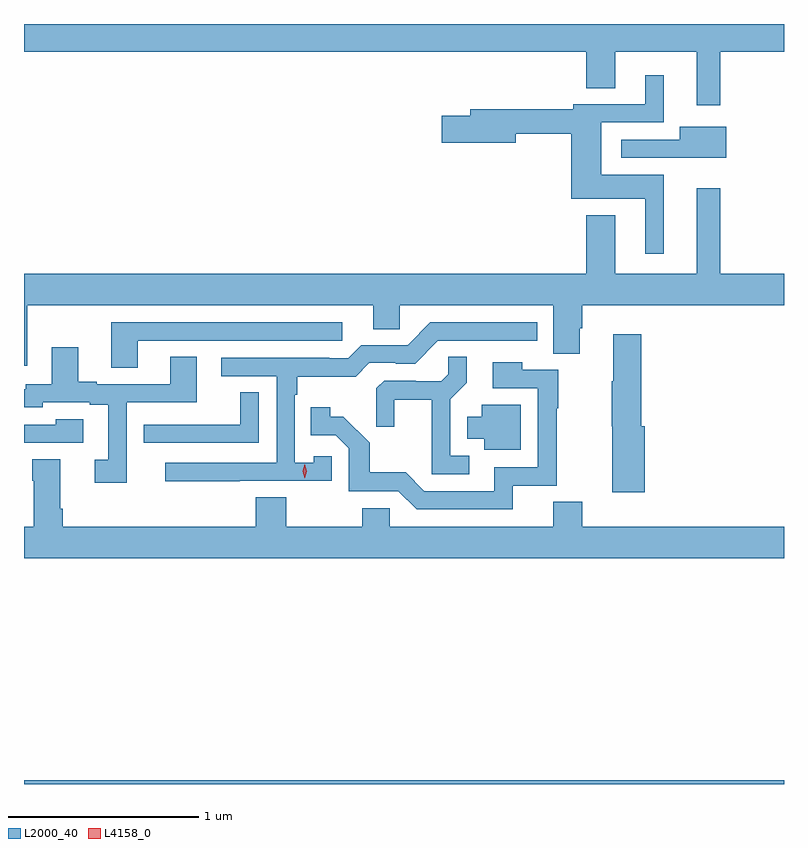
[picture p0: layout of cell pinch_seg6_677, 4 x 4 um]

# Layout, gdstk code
import gdstk
lib = gdstk.Library(unit=1e-6, precision=1e-09)
def R(c, l, rs):  # rectangles x0, y0, x1, y1
    for r in rs: c.add(gdstk.rectangle(r[:2], r[2:], *l))
def P(c, l, *ps):  # polygons
    for p in ps: c.add(gdstk.Polygon(p, *l))
L2000_40 = (2000, 40)
L4158_0 = (4158, 0)

pinch_seg6_677 = lib.new_cell('pinch_seg6_677')
R(pinch_seg6_677, L2000_40, [(446.631,932.827,450.631,932.848)])
P(pinch_seg6_677, L2000_40, [(450.295,936.68),(450.631,936.68),(450.631,936.827),(446.631,936.827),(446.631,936.68),(449.591,936.68),(449.591,936.49),(449.743,936.49),(449.743,936.68),(450.173,936.68),(450.173,936.399),(450.295,936.399)],
  [(449.998,936.034),(449.668,936.034),(449.668,936.309),(449.998,936.309),(449.998,936.556),(449.9,936.556),(449.9,936.405),(449.522,936.405),(449.522,936.379),(448.979,936.379),(448.979,936.345),(448.83,936.345),(448.83,936.203),(449.218,936.203),(449.218,936.25),(449.51,936.25),(449.51,935.906),(449.9,935.906),(449.9,935.619),(449.998,935.619)],
  [(450.328,936.286),(450.083,936.286),(450.083,936.219),(449.775,936.219),(449.775,936.123),(450.087,936.123),(450.087,936.122),(450.328,936.122)],
  [(446.647,935.348),(448.469,935.348),(448.469,935.221),(448.608,935.221),(448.608,935.348),(449.417,935.348),(449.417,935.092),(449.557,935.092),(449.557,935.226),(449.57,935.226),(449.57,935.348),(450.631,935.348),(450.631,935.512),(450.295,935.512),(450.295,935.962),(450.173,935.962),(450.173,935.512),(449.743,935.512),(449.743,935.821),(449.591,935.821),(449.591,935.512),(446.631,935.512),(446.631,935.028),(446.647,935.028)],
  [(447.229,935.16),(448.306,935.16),(448.306,935.256),(447.089,935.256),(447.089,935.017),(447.229,935.017)],
  [(447.767,934.422),(448.251,934.422),(448.251,934.551),(448.155,934.551),(448.155,934.519),(448.056,934.519),(448.056,934.877),(448.069,934.877),(448.069,934.97),(448.376,934.97),(448.449,935.043),(448.588,935.043),(448.588,935.04),(448.689,935.04),(448.809,935.16),(449.332,935.16),(449.332,935.256),(448.77,935.256),(448.65,935.136),(448.407,935.136),(448.338,935.067),(448.238,935.067),(448.238,935.07),(447.669,935.07),(447.669,934.974),(447.96,934.974),(447.96,934.518),(447.375,934.518),(447.375,934.42),(447.767,934.42)],
  [(449.897,934.71),(449.879,934.71),(449.879,935.194),(449.732,935.194),(449.732,934.946),(449.725,934.946),(449.725,934.71),(449.726,934.71),(449.726,934.362),(449.897,934.362)],
  [(447.171,934.836),(447.541,934.836),(447.541,935.075),(447.401,935.075),(447.401,934.932),(447.013,934.932),(447.013,934.945),(446.917,934.945),(446.917,935.125),(446.777,935.125),(446.777,934.932),(446.64,934.932),(446.64,934.905),(446.631,934.905),(446.631,934.809),(446.73,934.809),(446.73,934.836),(446.978,934.836),(446.978,934.824),(447.074,934.824),(447.074,934.533),(447.003,934.533),(447.003,934.413),(447.171,934.413)],
  [(448.975,934.554),(448.875,934.554),(448.875,934.853),(448.961,934.939),(448.961,935.075),(448.863,935.075),(448.863,934.984),(448.826,934.947),(448.692,934.947),(448.692,934.95),(448.527,934.95),(448.486,934.909),(448.486,934.707),(448.58,934.707),(448.58,934.85),(448.778,934.85),(448.778,934.458),(448.975,934.458)],
  [(449.204,934.398),(449.435,934.398),(449.435,934.804),(449.443,934.804),(449.443,935.007),(449.253,935.007),(449.253,935.047),(449.097,935.047),(449.097,934.911),(449.334,934.911),(449.334,934.494),(449.105,934.494),(449.105,934.368),(448.737,934.368),(448.639,934.467),(448.45,934.467),(448.45,934.622),(448.312,934.76),(448.242,934.76),(448.242,934.81),(448.141,934.81),(448.141,934.662),(448.272,934.662),(448.341,934.593),(448.341,934.368),(448.602,934.368),(448.698,934.272),(449.204,934.272)],
  [(447.867,934.889),(447.769,934.889),(447.769,934.719),(447.373,934.719),(447.373,934.718),(447.261,934.718),(447.261,934.623),(447.867,934.623)],
  [(449.245,934.822),(449.039,934.822),(449.039,934.759),(448.964,934.759),(448.964,934.643),(449.054,934.643),(449.054,934.586),(449.245,934.586)],
  [(446.944,934.747),(446.799,934.747),(446.799,934.719),(446.631,934.719),(446.631,934.623),(446.944,934.623)],
  [(450.631,934.18),(449.57,934.18),(449.57,934.313),(449.417,934.313),(449.417,934.18),(448.557,934.18),(448.557,934.278),(448.411,934.278),(448.411,934.18),(448.011,934.18),(448.011,934.337),(447.851,934.337),(447.851,934.18),(446.834,934.18),(446.834,934.276),(446.821,934.276),(446.821,934.537),(446.674,934.537),(446.674,934.424),(446.681,934.424),(446.681,934.18),(446.631,934.18),(446.631,934.016),(450.631,934.016)])
P(pinch_seg6_677, L4158_0, [(448.109,934.437),(448.109,934.437),(448.099,934.473),(448.109,934.509),(448.109,934.509),(448.109,934.509),(448.119,934.473),(448.109,934.437)])

lib.write_gds('pinch_seg6_677.gds')
